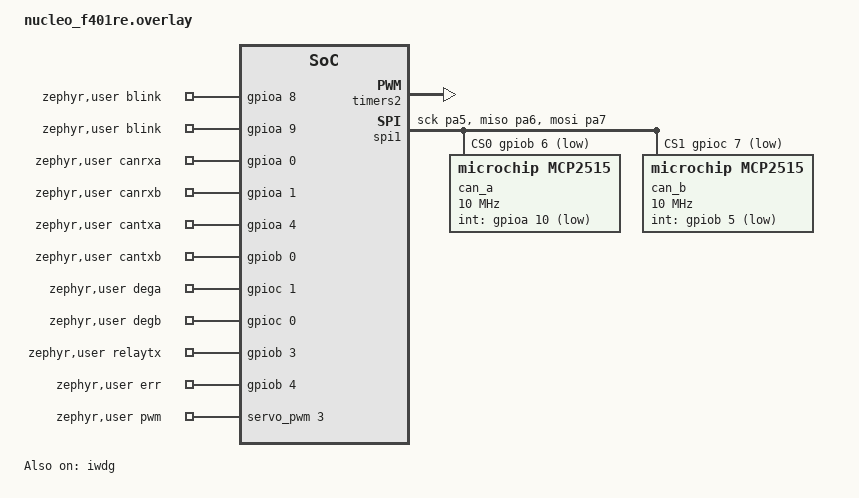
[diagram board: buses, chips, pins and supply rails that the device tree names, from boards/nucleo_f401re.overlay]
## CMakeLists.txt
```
cmake_minimum_required(VERSION 3.20.0)
find_package(Zephyr REQUIRED HINTS $ENV{ZEPHYR_BASE})
project(lab3_steering)

target_sources(app PRIVATE
	src/blink.c
	src/canbus.c
	src/dispatch.c
	src/main.c
	src/relay.c
	src/steer.c
	src/tp.c
	src/tx_tasks.c
	src/zone.c
)

target_include_directories(app PRIVATE include ../../common)
```

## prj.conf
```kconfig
CONFIG_GPIO=y
CONFIG_SPI=y
CONFIG_CAN=y
CONFIG_CAN_MCP2515=y
CONFIG_CAN_MCP2515_INT_THREAD_PRIO=0
CONFIG_PWM=y
CONFIG_WATCHDOG=y
CONFIG_PRINTK=y
CONFIG_CBPRINTF_FP_SUPPORT=n
CONFIG_STM32_ENABLE_DEBUG_SLEEP_STOP=y
```

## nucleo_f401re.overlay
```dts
/*
 * Lab 3 N2: steering zone (STM32 front).
 *
 * Template tasks (Part 2 table) and where they live:
 *   CAN_RX_A/B  canbus.c rx_cb + dispatch.c   ISR + driver thread + dispatch
 *   STEER       steer.c                       on CTRL
 *   BLINK_F     blink.c                       on BLINK
 *   FORCE_TX    tx_tasks.c                    50 ms
 *   HB_TX       tx_tasks.c                    20 ms
 *   HB_MON      zone.c                        20 ms
 *   TEST_BTN    zone.c                        GPIO ISR + debounce
 *   RELAY       relay.c                       Part 4.2
 * Priorities: include/config.h. Thresholds: include/config.h.
 *
 * main() starts everything, then feeds the independent watchdog (R4.5) only
 * while the periodic threads keep checking in, and prints a status line.
 */
#include <zephyr/drivers/watchdog.h>
#include <zephyr/kernel.h>

#include "blink.h"
#include "canbus.h"
#include "config.h"
#include "relay.h"
#include "steer.h"
#include "tp.h"
#include "zone.h"

int dispatch_init(void);
int tx_tasks_init(void);

static const struct device *const wdt = DEVICE_DT_GET(DT_NODELABEL(iwdg));

static int wdt_start(void)
{
	struct wdt_timeout_cfg cfg = {
		.window = { .min = 0, .max = WDT_TIMEOUT_MS },
		.callback = NULL,
		.flags = WDT_FLAG_RESET_SOC,
	};
	int ch;

	if (!device_is_ready(wdt)) {
		return -ENODEV;
	}
	ch = wdt_install_timeout(wdt, &cfg);
	if (ch < 0 || wdt_setup(wdt, WDT_OPT_PAUSE_HALTED_BY_DBG) < 0) {
		return -EIO;
	}
	return ch;
}

static const char *state_str(enum zone_state s)
{
	return s == ZONE_NORMAL ? "NORMAL" : s == ZONE_ERROR ? "ERROR" : "LOCAL_FAIL";
}

int main(void)
{
	struct canbus_stats st;
	int64_t next_print = 0;
	int wdt_ch;

	printk("\nLab 3 N2 steering zone\n");

	if (tp_init() < 0) {
		printk("test point GPIO not ready\n");
	}
	/* Outputs first, in their safe state (ERROR: centered servo, hazards). */
	steer_init();
	blink_init();
	zone_init();
	relay_init();
	dispatch_init();
	if (canbus_init() < 0) {
		printk("no CAN module came up\n");
	}
	tx_tasks_init();

	wdt_ch = wdt_start();
	if (wdt_ch < 0) {
		printk("watchdog not started (%d)\n", wdt_ch);
	}

	for (;;) {
		k_msleep(WDT_FEED_MS);

		/* Feed only if every periodic thread ran since the last check, so a
		 * stuck thread resets the board instead of hiding. */
		if (wdt_ch >= 0 && (zone_wdt_take() & WDT_ALL) == WDT_ALL) {
			wdt_feed(wdt, wdt_ch);
		}

		if (k_uptime_get() >= next_print) {
			next_print = k_uptime_get() + STATUS_PRINT_MS;
			canbus_get_stats(&st);
			printk("%-10s | A tx %u fail %u rx %u st %d | B tx %u fail %u rx %u st %d | "
			       "health 0x%x | relayed %u | rxq drop %u\n",
			       state_str(zone_state()), st.tx_ok[BUS_A], st.tx_fail[BUS_A],
			       st.rx[BUS_A], st.state[BUS_A], st.tx_ok[BUS_B], st.tx_fail[BUS_B],
			       st.rx[BUS_B], st.state[BUS_B], zone_health_bits(), relay_count(),
			       st.rx_drop);
		}
	}
	return 0;
}
```

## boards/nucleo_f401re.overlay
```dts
#include <zephyr/dt-bindings/pwm/pwm.h>

/ {
	chosen {
		zephyr,canbus = &can_a;
	};

	aliases {
		/delete-property/ led0;
		/delete-property/ pwm-led0;
		can-a = &can_a;
		can-b = &can_b;
	};

	zephyr,user {
		pwms = <&servo_pwm 3 PWM_MSEC(20) PWM_POLARITY_NORMAL>;
		/* front blinkers: 0 = FL (left), 1 = FR (right) */
		/* Pins as wired on the bench (Dual-CAN Bench Wiring page, N2 column):
		 * row 3 CAN_RX_A PA0, 4 CAN_RX_B PA1, 5 CAN_TX_A PA4, 6 CAN_TX_B PB0,
		 * 7 DEG_A PC1, 8 DEG_B PC0, 9 SRV PB10, 10 FL PA8, 11 FR PA9,
		 * 12 RELAY_TX PB3, 13 ERR PB4. */
		blink-gpios = <&gpioa 8 GPIO_ACTIVE_HIGH>, <&gpioa 9 GPIO_ACTIVE_HIGH>;
		canrxa-gpios = <&gpioa 0 GPIO_ACTIVE_HIGH>;
		canrxb-gpios = <&gpioa 1 GPIO_ACTIVE_HIGH>;
		cantxa-gpios = <&gpioa 4 GPIO_ACTIVE_HIGH>;
		cantxb-gpios = <&gpiob 0 GPIO_ACTIVE_HIGH>;
		dega-gpios = <&gpioc 1 GPIO_ACTIVE_HIGH>;
		degb-gpios = <&gpioc 0 GPIO_ACTIVE_HIGH>;
		relaytx-gpios = <&gpiob 3 GPIO_ACTIVE_HIGH>;
		err-gpios = <&gpiob 4 GPIO_ACTIVE_HIGH>;
	};
};

&{/pwmleds} { status = "disabled"; };
&usart1 { status = "disabled"; };
&i2c1 { status = "disabled"; };
&i2c3 { status = "disabled"; };

/* R4.5: independent watchdog */
&iwdg { status = "okay"; };

/* Servo PWM: TIM2 channel 3 on PB10 (from lab2_stm32). */
&timers2 {
	status = "okay";
	st,prescaler = <0>;
	servo_pwm: pwm {
		status = "okay";
		pinctrl-0 = <&tim2_ch3_pb10>;
		pinctrl-names = "default";
	};
};

&spi1 {
	status = "okay";
	pinctrl-0 = <&spi1_sck_pa5 &spi1_miso_pa6 &spi1_mosi_pa7>;
	pinctrl-names = "default";
	cs-gpios = <&gpiob 6 (GPIO_ACTIVE_LOW | GPIO_PULL_UP)>,
		   <&gpioc 7 (GPIO_ACTIVE_LOW | GPIO_PULL_UP)>;

	can_a: mcp2515@0 {
		compatible = "microchip,mcp2515";
		reg = <0>;
		spi-max-frequency = <10000000>;
		int-gpios = <&gpioa 10 GPIO_ACTIVE_LOW>;
		osc-freq = <16000000>;	/* must match the crystal on the module */
		bitrate = <500000>;
		status = "okay";
	};

	can_b: mcp2515@1 {
		compatible = "microchip,mcp2515";
		reg = <1>;
		spi-max-frequency = <10000000>;
		int-gpios = <&gpiob 5 GPIO_ACTIVE_LOW>;
		osc-freq = <16000000>;	/* must match the crystal on the module */
		bitrate = <500000>;
		status = "okay";
	};
};
```

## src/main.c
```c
#include <zephyr/drivers/watchdog.h>
#include <zephyr/kernel.h>

#include "blink.h"
#include "canbus.h"
#include "config.h"
#include "relay.h"
#include "steer.h"
#include "tp.h"
#include "zone.h"

int dispatch_init(void);
int tx_tasks_init(void);

static const struct device *const wdt = DEVICE_DT_GET(DT_NODELABEL(iwdg));

static int wdt_start(void)
{
	struct wdt_timeout_cfg cfg = {
		.window = { .min = 0, .max = WDT_TIMEOUT_MS },
		.callback = NULL,
		.flags = WDT_FLAG_RESET_SOC,
	};
	int ch;

	if (!device_is_ready(wdt)) {
		return -ENODEV;
	}
	ch = wdt_install_timeout(wdt, &cfg);
	if (ch < 0 || wdt_setup(wdt, WDT_OPT_PAUSE_HALTED_BY_DBG) < 0) {
		return -EIO;
	}
	return ch;
}

static const char *state_str(enum zone_state s)
{
	return s == ZONE_NORMAL ? "NORMAL" : s == ZONE_ERROR ? "ERROR" : "LOCAL_FAIL";
}

int main(void)
{
	struct canbus_stats st;
	int64_t next_print = 0;
	int wdt_ch;

	printk("\nLab 3 N2 steering zone\n");

	if (tp_init() < 0) {
		printk("test point GPIO not ready\n");
	}
	/* Outputs first, in their safe state (ERROR: centered servo, hazards). */
	steer_init();
	blink_init();
	zone_init();
	relay_init();
	dispatch_init();
	if (canbus_init() < 0) {
		printk("no CAN module came up\n");
	}
	tx_tasks_init();

	wdt_ch = wdt_start();
	if (wdt_ch < 0) {
		printk("watchdog not started (%d)\n", wdt_ch);
	}

	for (;;) {
		k_msleep(WDT_FEED_MS);

		/* Feed only if every periodic thread ran since the last check, so a
		 * stuck thread resets the board instead of hiding. */
		if (wdt_ch >= 0 && (zone_wdt_take() & WDT_ALL) == WDT_ALL) {
			wdt_feed(wdt, wdt_ch);
		}

		if (k_uptime_get() >= next_print) {
			next_print = k_uptime_get() + STATUS_PRINT_MS;
			canbus_get_stats(&st);
			printk("%-10s | A tx %u fail %u rx %u st %d | B tx %u fail %u rx %u st %d | "
			       "health 0x%x | relayed %u | rxq drop %u\n",
			       state_str(zone_state()), st.tx_ok[BUS_A], st.tx_fail[BUS_A],
			       st.rx[BUS_A], st.state[BUS_A], st.tx_ok[BUS_B], st.tx_fail[BUS_B],
			       st.rx[BUS_B], st.state[BUS_B], zone_health_bits(), relay_count(),
			       st.rx_drop);
		}
	}
	return 0;
}
```

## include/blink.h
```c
/* BLINK_F: front blinkers FL / FR from the BLINK frames (R2.4). */
#ifndef BLINK_H
#define BLINK_H

#include "can_catalog.h"

/* A new, valid BLINK (dispatch thread). */
void blink_on_msg(const struct can_blink *b);
/* Re-evaluate now (state change). */
void blink_kick(void);
int blink_init(void);

#endif /* BLINK_H */
```

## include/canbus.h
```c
/*
 * N2's two MCP2515 modules: bus A (can_a) and bus B (can_b).
 * Same job as lab3_pi/src/canbus.c, on Zephyr.
 */
#ifndef CANBUS_H
#define CANBUS_H

#include <stdint.h>
#include <zephyr/drivers/can.h>
#include <zephyr/kernel.h>

#include "can_catalog.h"

enum { BUS_A = 0, BUS_B = 1, BUS_COUNT = 2 };

/* One received frame and the bus it came in on. */
struct rx_item {
	struct can_frame frame;
	uint8_t bus;
};

/* Every received frame from both buses, duplicates included (dispatch.c). */
extern struct k_msgq canbus_rxq;

/* Registers the catalog IDs on both modules and starts them. 0 if at least one came up. */
int canbus_init(void);

/*
 * The send helper (Part 5): queue the same 8 bytes on bus A, then bus B, back
 * to back, toggling CAN_TX_A / CAN_TX_B, then bump *seq once. The caller packs
 * d with the current *seq. Never blocks: a bus nobody ACKs just fails its send.
 */
void canbus_send_both(uint16_t id, const uint8_t d[CAN_DLC], uint8_t *seq);

/* Queue one frame on one bus only, unchanged (the relay). Returns 0 if queued. */
int canbus_send_on(int bus, uint16_t id, const uint8_t d[CAN_DLC]);

/* Counters for the status line. */
struct canbus_stats {
	uint32_t tx_ok[BUS_COUNT];
	uint32_t tx_fail[BUS_COUNT]; /* not queued (TX buffers full / bus-off) or TX error */
	uint32_t rx[BUS_COUNT];
	uint32_t rx_drop;            /* canbus_rxq was full */
	enum can_state state[BUS_COUNT];
};
void canbus_get_stats(struct canbus_stats *s);

#endif /* CANBUS_H */
```

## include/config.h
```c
#ifndef CONFIG_H
#define CONFIG_H

#define STACK_SZ 1024


#define PRIO_DISPATCH 1 
#define PRIO_RELAY    2 
#define PRIO_BLINK_F  3 
#define PRIO_STEER    4 
#define PRIO_TEST_BTN 5 
#define PRIO_HB_MON   6 
#define PRIO_HB_TX    7 
#define PRIO_FORCE_TX 8


#define HB_PERIOD_MS      20  
#define HB_MISS_LIMIT     3   

#define DEGRADED_MS       40  
#define RELAY_AFTER_MS    60  
#define CTRL_STALE_MS     100 
#define GOOD_CTRL_TO_CLEAR 2 
#define FAULT_HOLD_MS     100 
#define FAULT_MIN_GAP_MS  20  
#define FORCE_PERIOD_MS   50  
#define HAZARD_HALF_MS    250 
#define SELFTEST_LOCKOUT_MS 50 
#define SELFTEST_DOUBLE_MS  500
#define WDT_TIMEOUT_MS    300 
#define WDT_FEED_MS       100 
#define STATUS_PRINT_MS   1000


#define SERVO_MIN_US    800
#define SERVO_CENTER_US 1560 
#define SERVO_MAX_US    2100 
#define SERVO_INVERT    1   

#endif 
```

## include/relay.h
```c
#ifndef RELAY_H
#define RELAY_H

#include "canbus.h"

void relay_queue(const struct can_frame *f, int to_bus);
uint32_t relay_count(void);
int relay_init(void);

#endif 
```

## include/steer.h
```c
#ifndef STEER_H
#define STEER_H

#include "can_catalog.h"

void steer_on_ctrl(const struct can_ctrl *c);
void steer_kick(void);
int steer_init(void);

#endif
```

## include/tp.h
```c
#ifndef TP_H
#define TP_H

#include <stdbool.h>

enum tp {
	TP_CAN_RX_A,
	TP_CAN_RX_B, 
	TP_CAN_TX_A, 
	TP_CAN_TX_B, 
	TP_DEG_A,    
	TP_DEG_B,    
	TP_RELAY_TX, 
	TP_ERR,      
	TP_COUNT,
};

int tp_init(void);
void tp_toggle(enum tp tp);
void tp_set(enum tp tp, bool on);

#endif 
```

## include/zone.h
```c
#ifndef ZONE_H
#define ZONE_H

#include <stdbool.h>
#include <stdint.h>

#include "can_catalog.h"

enum zone_state {
	ZONE_ERROR,      
	ZONE_NORMAL,
	ZONE_LOCAL_FAIL, 
};

enum zone_state zone_state(void);

/* HB_N2 payload. */
uint8_t zone_wire_state(void);
uint8_t zone_health_bits(void);

void zone_on_frame(int bus, uint8_t sender, bool is_hb);
void zone_on_ctrl(enum can_check result);
void zone_on_fault(const struct can_fault *f);

bool zone_relay_to(uint8_t sender, int from_bus, int *to_bus);


bool zone_blink_master_alive(void);

enum {
	WDT_HB_MON = BIT(0),
	WDT_HB_TX = BIT(1),
	WDT_STEER = BIT(2),
	WDT_FORCE_TX = BIT(3),
	WDT_ALL = WDT_HB_MON | WDT_HB_TX | WDT_STEER | WDT_FORCE_TX,
};
void zone_wdt_checkin(uint32_t bit);
uint32_t zone_wdt_take(void);

int zone_init(void);

#endif
```

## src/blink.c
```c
#include <zephyr/drivers/gpio.h>
#include <zephyr/kernel.h>

#include "blink.h"
#include "config.h"
#include "zone.h"

enum { FL, FR, N_LEDS };

static const struct gpio_dt_spec leds[N_LEDS] = {
	GPIO_DT_SPEC_GET_BY_IDX(DT_PATH(zephyr_user), blink_gpios, 0),
	GPIO_DT_SPEC_GET_BY_IDX(DT_PATH(zephyr_user), blink_gpios, 1),
};

K_MSGQ_DEFINE(blink_q, sizeof(struct can_blink), 4, 1);

void blink_on_msg(const struct can_blink *b)
{
	(void)k_msgq_put(&blink_q, b, K_NO_WAIT);
}

#define MODE_RECHECK 0xFF

void blink_kick(void)
{
	const struct can_blink recheck = { .mode = MODE_RECHECK };

	(void)k_msgq_put(&blink_q, &recheck, K_NO_WAIT);
}

static void apply(const struct can_blink *b)
{
	bool left = (b->mode == CAN_BLINK_LEFT || b->mode == CAN_BLINK_HAZARD) && b->phase;
	bool right = (b->mode == CAN_BLINK_RIGHT || b->mode == CAN_BLINK_HAZARD) && b->phase;

	gpio_pin_set_dt(&leds[FL], left);
	gpio_pin_set_dt(&leds[FR], right);
}

static void blink_thread(void *p1, void *p2, void *p3)
{
	struct can_blink b;
	struct can_blink local = { .mode = CAN_BLINK_HAZARD, .phase = 1 };

	/* R3: power up in ERROR with hazards until the cockpit takes over. */
	apply(&local);

	for (;;) {
		int got = k_msgq_get(&blink_q, &b, K_MSEC(HAZARD_HALF_MS));
		bool own_hazards = zone_state() != ZONE_NORMAL && !zone_blink_master_alive();

		if (got == 0 && b.mode != MODE_RECHECK) {
			apply(&b);
		} else if (own_hazards) {
			local.phase = got == 0 ? 1 : local.phase ^ 1;
			apply(&local);
		}
	}
}

K_THREAD_DEFINE(blink_tid, STACK_SZ, blink_thread, NULL, NULL, NULL, PRIO_BLINK_F, 0,
		SYS_FOREVER_MS);

int blink_init(void)
{
	for (int i = 0; i < N_LEDS; i++) {
		if (!gpio_is_ready_dt(&leds[i]) ||
		    gpio_pin_configure_dt(&leds[i], GPIO_OUTPUT_INACTIVE) < 0) {
			printk("blinker GPIO not ready\n");
			return -ENODEV;
		}
	}
	k_thread_start(blink_tid);
	return 0;
}
```

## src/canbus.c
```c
#include <string.h>
#include <zephyr/sys/atomic.h>

#include "canbus.h"
#include "tp.h"

K_MSGQ_DEFINE(canbus_rxq, sizeof(struct rx_item), 32, 4);

static const uint16_t rx_ids[] = {
	CAN_ID_CTRL, CAN_ID_FAULT, CAN_ID_HB_N1, CAN_ID_HB_N3, CAN_ID_BLINK,
};

static const struct device *const devs[BUS_COUNT] = {
	DEVICE_DT_GET(DT_NODELABEL(can_a)),
	DEVICE_DT_GET(DT_NODELABEL(can_b)),
};
static const enum tp tp_rx[BUS_COUNT] = { TP_CAN_RX_A, TP_CAN_RX_B };
static const enum tp tp_tx[BUS_COUNT] = { TP_CAN_TX_A, TP_CAN_TX_B };

#define TX_WAIT K_MSEC(2)

static bool up[BUS_COUNT];
static atomic_t tx_ok[BUS_COUNT], tx_fail[BUS_COUNT], rx_cnt[BUS_COUNT], rx_drop;


static void rx_cb(const struct device *dev, struct can_frame *frame, void *user_data)
{
	struct rx_item it = { .frame = *frame, .bus = (uint8_t)(uintptr_t)user_data };

	ARG_UNUSED(dev);
	tp_toggle(tp_rx[it.bus]);
	atomic_inc(&rx_cnt[it.bus]);
	if (k_msgq_put(&canbus_rxq, &it, K_NO_WAIT) != 0) {
		atomic_inc(&rx_drop);
	}
}

static void tx_cb(const struct device *dev, int error, void *user_data)
{
	int bus = (int)(uintptr_t)user_data;

	ARG_UNUSED(dev);
	atomic_inc(error == 0 ? &tx_ok[bus] : &tx_fail[bus]);
}

int canbus_init(void)
{
	int n_up = 0;

	for (int b = 0; b < BUS_COUNT; b++) {
		bool ok = device_is_ready(devs[b]);

		for (int i = 0; ok && i < ARRAY_SIZE(rx_ids); i++) {
			const struct can_filter f = {
				.id = rx_ids[i], .mask = CAN_STD_ID_MASK, .flags = 0,
			};

			ok = can_add_rx_filter(devs[b], rx_cb, (void *)(uintptr_t)b, &f) >= 0;
		}
		if (ok) {
			ok = can_start(devs[b]) == 0;
		}
		up[b] = ok;
		n_up += ok;
		printk("CAN %c: %s\n", 'A' + b, ok ? "started" : "NOT running");
	}
	return n_up > 0 ? 0 : -ENODEV;
}

int canbus_send_on(int bus, uint16_t id, const uint8_t d[CAN_DLC])
{
	struct can_frame f = { .id = id, .dlc = CAN_DLC };
	int err;

	if (!up[bus]) {
		return -ENODEV;
	}
	memcpy(f.data, d, CAN_DLC);
	tp_toggle(tp_tx[bus]);
	/*
	 * Zephyr's MCP2515 driver uses only ONE transmit buffer, so a send while
	 * the previous frame is still going out has to wait for it. K_NO_WAIT
	 * dropped a frame every time two threads sent together (HB and FORCE line
	 * up every 100 ms). One frame takes ~0.27 ms, < 2 ms worst case behind
	 * higher-priority traffic, so wait up to TX_WAIT. On a bus nobody ACKs
	 * (jumper pulled) the buffer never frees: each send there waits TX_WAIT
	 * and fails, delaying the other bus's copy by at most that much.
	 */
	err = can_send(devs[bus], &f, TX_WAIT, tx_cb, (void *)(uintptr_t)bus);
	if (err != 0) {
		atomic_inc(&tx_fail[bus]);
	}
	return err;
}

void canbus_send_both(uint16_t id, const uint8_t d[CAN_DLC], uint8_t *seq)
{
	canbus_send_on(BUS_A, id, d);
	canbus_send_on(BUS_B, id, d);
	*seq = can_seq_next(*seq);
}

void canbus_get_stats(struct canbus_stats *s)
{
	for (int b = 0; b < BUS_COUNT; b++) {
		s->tx_ok[b] = atomic_get(&tx_ok[b]);
		s->tx_fail[b] = atomic_get(&tx_fail[b]);
		s->rx[b] = atomic_get(&rx_cnt[b]);
		if (!up[b] || can_get_state(devs[b], &s->state[b], NULL) != 0) {
			s->state[b] = CAN_STATE_STOPPED;
		}
	}
	s->rx_drop = atomic_get(&rx_drop);
}
```

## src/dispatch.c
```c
#include <zephyr/kernel.h>

#include "blink.h"
#include "canbus.h"
#include "config.h"
#include "relay.h"
#include "steer.h"
#include "zone.h"

static struct can_seq_filter rx_ctrl, rx_blink;
static struct can_seq_filter rx_hb[CAN_ZONE_N3 + 1], rx_fault[CAN_ZONE_N3 + 1];

static void dispatch_thread(void *p1, void *p2, void *p3)
{
	struct rx_item it;

	for (;;) {
		k_msgq_get(&canbus_rxq, &it, K_FOREVER);

		const uint8_t *d = it.frame.data;
		uint16_t id = it.frame.id;
		uint32_t now = k_uptime_get_32();
		struct can_seq_filter *filt = NULL;
		uint8_t sender = 0;
		struct can_fault f;
		bool fault_ok = false;

		if (it.frame.dlc != CAN_DLC) {
			zone_on_frame(it.bus, 0, false);
			continue;
		}

		switch (id) {
		case CAN_ID_CTRL:
			sender = CAN_ZONE_N1;
			filt = &rx_ctrl;
			break;
		case CAN_ID_BLINK:
			sender = CAN_ZONE_N1;
			filt = &rx_blink;
			break;
		case CAN_ID_HB_N1:
		case CAN_ID_HB_N3:
			sender = can_hb_zone(id);
			filt = &rx_hb[sender];
			break;
		case CAN_ID_FAULT:
			fault_ok = can_unpack_fault(d, &f) == CAN_OK && f.zone != CAN_ZONE_N2;
			if (fault_ok) {
				sender = f.zone;
				filt = &rx_fault[sender];
			}
			break;
		default:
			break;
		}

		zone_on_frame(it.bus, sender, can_hb_zone(id) != 0);
		if (filt == NULL || !can_seq_accept(filt, can_seq(d), now)) {
			continue; 
		}

		int to_bus;

		if (zone_relay_to(sender, it.bus, &to_bus)) {
			relay_queue(&it.frame, to_bus);
		}

		switch (id) {
		case CAN_ID_CTRL: {
			struct can_ctrl c;
			enum can_check r = can_unpack_ctrl(d, &c);

			if (r == CAN_OK) {
				steer_on_ctrl(&c);
			}
			zone_on_ctrl(r);
			break;
		}
		case CAN_ID_BLINK: {
			struct can_blink b;

			if (can_unpack_blink(d, &b) == CAN_OK) {
				blink_on_msg(&b);
			}
			break;
		}
		case CAN_ID_FAULT:
			zone_on_fault(&f);
			break;
		default:
			break; 
		}
	}
}

K_THREAD_DEFINE(dispatch_tid, STACK_SZ, dispatch_thread, NULL, NULL, NULL, PRIO_DISPATCH, 0,
		SYS_FOREVER_MS);

int dispatch_init(void)
{
	k_thread_start(dispatch_tid);
	return 0;
}
```

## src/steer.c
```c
#include <zephyr/drivers/pwm.h>
#include <zephyr/kernel.h>

#include "config.h"
#include "steer.h"
#include "zone.h"

static const struct pwm_dt_spec srv = PWM_DT_SPEC_GET_BY_IDX(DT_PATH(zephyr_user), 0);

static struct k_spinlock lock;
static int16_t steer_cmd;
static bool have_cmd;
static K_SEM_DEFINE(steer_sem, 0, 1);

static int steer_to_us(int steer)
{
	if (SERVO_INVERT) {
		steer = -steer;
	}
	if (steer > 50) {
		steer = 100;
	} else if (steer < -50) {
		steer = -100;
	}
	if (steer >= 0) {
		return SERVO_CENTER_US + (SERVO_MAX_US - SERVO_CENTER_US) * steer / 100;
	}
	return SERVO_CENTER_US + (SERVO_CENTER_US - SERVO_MIN_US) * steer / 100;
}

void steer_on_ctrl(const struct can_ctrl *c)
{
	k_spinlock_key_t key = k_spin_lock(&lock);

	steer_cmd = c->steer;
	have_cmd = true;
	k_spin_unlock(&lock, key);
	k_sem_give(&steer_sem);
}

void steer_kick(void)
{
	k_sem_give(&steer_sem);
}

static void steer_thread(void *p1, void *p2, void *p3)
{
	int cur_us = 0;

	for (;;) {
		(void)k_sem_take(&steer_sem, K_MSEC(HB_PERIOD_MS));
		zone_wdt_checkin(WDT_STEER);

		k_spinlock_key_t key = k_spin_lock(&lock);
		int16_t s = steer_cmd;
		bool ok = have_cmd;

		k_spin_unlock(&lock, key);

		/* R3: keep tracking the wheel in the system error state; only center
		 * when this zone is the failed one (LOCAL_FAIL). */
		int us = (ok && zone_state() != ZONE_LOCAL_FAIL) ? steer_to_us(s) : SERVO_CENTER_US;

		/* Only touch the timer when the value changes; the new width takes
		 * effect at the start of the next 20 ms PWM period. */
		if (us != cur_us && pwm_set_pulse_dt(&srv, PWM_USEC(us)) == 0) {
			cur_us = us;
		}
	}
}

K_THREAD_DEFINE(steer_tid, STACK_SZ, steer_thread, NULL, NULL, NULL, PRIO_STEER, 0,
		SYS_FOREVER_MS);

int steer_init(void)
{
	if (!pwm_is_ready_dt(&srv)) {
		printk("servo PWM not ready\n");
		return -ENODEV;
	}
	k_thread_start(steer_tid);
	return 0;
}
```

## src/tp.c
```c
#include <zephyr/drivers/gpio.h>
#include "tp.h"

#define USER DT_PATH(zephyr_user)

static const struct gpio_dt_spec pins[TP_COUNT] = {
	[TP_CAN_RX_A] = GPIO_DT_SPEC_GET(USER, canrxa_gpios),
	[TP_CAN_RX_B] = GPIO_DT_SPEC_GET(USER, canrxb_gpios),
	[TP_CAN_TX_A] = GPIO_DT_SPEC_GET(USER, cantxa_gpios),
	[TP_CAN_TX_B] = GPIO_DT_SPEC_GET(USER, cantxb_gpios),
	[TP_DEG_A] = GPIO_DT_SPEC_GET(USER, dega_gpios),
	[TP_DEG_B] = GPIO_DT_SPEC_GET(USER, degb_gpios),
	[TP_RELAY_TX] = GPIO_DT_SPEC_GET(USER, relaytx_gpios),
	[TP_ERR] = GPIO_DT_SPEC_GET(USER, err_gpios),
};

int tp_init(void)
{
	for (int i = 0; i < TP_COUNT; i++) {
		if (!gpio_is_ready_dt(&pins[i]) ||
		    gpio_pin_configure_dt(&pins[i], GPIO_OUTPUT_INACTIVE) < 0) {
			return -ENODEV;
		}
	}
	gpio_pin_set_dt(&pins[TP_ERR], 1);
	return 0;
}

void tp_toggle(enum tp tp)
{
	gpio_pin_toggle_dt(&pins[tp]);
}

void tp_set(enum tp tp, bool on)
{
	gpio_pin_set_dt(&pins[tp], on);
}
```
